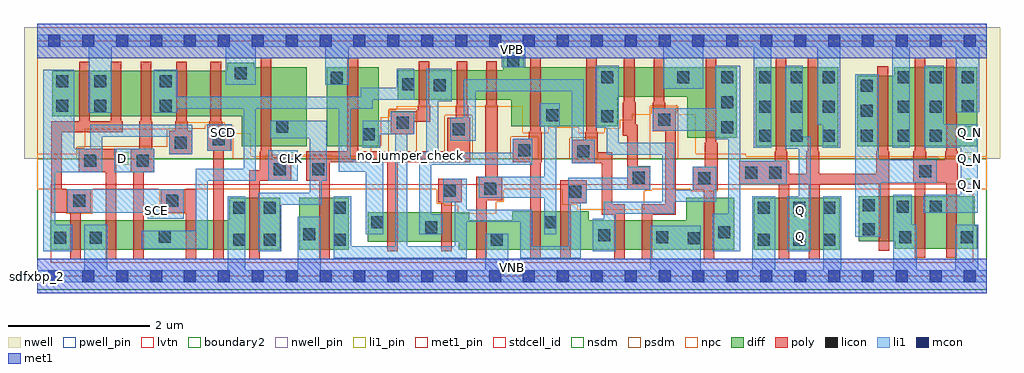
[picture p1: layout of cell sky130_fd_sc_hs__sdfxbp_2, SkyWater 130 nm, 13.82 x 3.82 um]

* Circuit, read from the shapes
.subckt sky130_fd_sc_hs__sdfxbp_2 CLK D Q Q_N SCD SCE VGND VNB VPB VPWR
XM1 VGND SCE n1 VNB sky130_fd_pr__nfet_01v8_lvt w=0.42 l=0.15
XM2 n2 n1 VGND VNB sky130_fd_pr__nfet_01v8_lvt w=0.42 l=0.15
XM3 n3 D n2 VNB sky130_fd_pr__nfet_01v8_lvt w=0.42 l=0.15
XM4 n4 SCE n3 VNB sky130_fd_pr__nfet_01v8_lvt w=0.42 l=0.15
XM5 VGND SCD n4 VNB sky130_fd_pr__nfet_01v8_lvt w=0.42 l=0.15
XM6 n5 CLK VGND VNB sky130_fd_pr__nfet_01v8_lvt w=0.74 l=0.15
XM7 n6 n5 VGND VNB sky130_fd_pr__nfet_01v8_lvt w=0.74 l=0.15
XM8 n7 n5 n3 VNB sky130_fd_pr__nfet_01v8_lvt w=0.42 l=0.15
XM9 n8 n6 n7 VNB sky130_fd_pr__nfet_01v8_lvt w=0.42 l=0.15
XM10 VGND n9 n8 VNB sky130_fd_pr__nfet_01v8_lvt w=0.42 l=0.15
XM11 n9 n7 VGND VNB sky130_fd_pr__nfet_01v8_lvt w=0.55 l=0.15
XM12 n10 n6 n9 VNB sky130_fd_pr__nfet_01v8_lvt w=0.55 l=0.15
XM13 n11 n5 n10 VNB sky130_fd_pr__nfet_01v8_lvt w=0.42 l=0.15
XM14 VGND n12 n11 VNB sky130_fd_pr__nfet_01v8_lvt w=0.42 l=0.15
XM15 n12 n10 VGND VNB sky130_fd_pr__nfet_01v8_lvt w=0.74 l=0.15
XM16 Q n12 VGND VNB sky130_fd_pr__nfet_01v8_lvt w=0.74 l=0.15 m=2
XM17 VGND n12 n13 VNB sky130_fd_pr__nfet_01v8_lvt w=0.64 l=0.15
XM18 Q_N n13 VGND VNB sky130_fd_pr__nfet_01v8_lvt w=0.74 l=0.15 m=2
XM19 VPWR SCE n1 VPB sky130_fd_pr__pfet_01v8 w=0.64 l=0.15
XM20 n14 SCE VPWR VPB sky130_fd_pr__pfet_01v8 w=0.64 l=0.15
XM21 n3 D n14 VPB sky130_fd_pr__pfet_01v8 w=0.64 l=0.15
XM22 n15 n1 n3 VPB sky130_fd_pr__pfet_01v8 w=0.64 l=0.15
XM23 VPWR SCD n15 VPB sky130_fd_pr__pfet_01v8 w=0.64 l=0.15
XM24 n5 CLK VPWR VPB sky130_fd_pr__pfet_01v8 w=1.12 l=0.15
XM25 n6 n5 VPWR VPB sky130_fd_pr__pfet_01v8 w=1.12 l=0.15
XM26 n7 n6 n3 VPB sky130_fd_pr__pfet_01v8 w=0.42 l=0.15
XM27 n16 n5 n7 VPB sky130_fd_pr__pfet_01v8 w=0.42 l=0.15
XM28 VPWR n9 n16 VPB sky130_fd_pr__pfet_01v8 w=0.42 l=0.15
XM29 n9 n7 VPWR VPB sky130_fd_pr__pfet_01v8 w=0.84 l=0.15
XM30 n10 n5 n9 VPB sky130_fd_pr__pfet_01v8 w=0.84 l=0.15
XM31 n17 n6 n10 VPB sky130_fd_pr__pfet_01v8 w=0.42 l=0.15
XM32 VPWR n12 n17 VPB sky130_fd_pr__pfet_01v8 w=0.42 l=0.15
XM33 n12 n10 VPWR VPB sky130_fd_pr__pfet_01v8 w=1 l=0.15
XM34 Q n12 VPWR VPB sky130_fd_pr__pfet_01v8 w=1.12 l=0.15 m=2
XM35 VPWR n12 n13 VPB sky130_fd_pr__pfet_01v8 w=1 l=0.15
XM36 Q_N n13 VPWR VPB sky130_fd_pr__pfet_01v8 w=1.12 l=0.15 m=2
.ends

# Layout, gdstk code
import gdstk
lib = gdstk.Library(unit=1e-6, precision=1e-09)
def R(c, l, rs):  # rectangles x0, y0, x1, y1
    for r in rs: c.add(gdstk.rectangle(r[:2], r[2:], *l))
def A(c, l, x, y, w, h, nx, ny, dx, dy):  # array of equal rectangles
    R(c, l, [(x+i*dx, y+j*dy, x+i*dx+w, y+j*dy+h) for i in range(nx) for j in range(ny)])
def P(c, l, *ps):  # polygons
    for p in ps: c.add(gdstk.Polygon(p, *l))
nwell_pin = (64, 16)
nwell = (64, 20)
diff = (65, 20)
poly = (66, 20)
licon = (66, 44)
li1_pin = (67, 16)
li1 = (67, 20)
mcon = (67, 44)
met1_pin = (68, 16)
met1 = (68, 20)
stdcell_id = (81, 4)
nsdm = (93, 44)
psdm = (94, 20)
npc = (95, 20)
pwell_pin = (122, 16)
lvtn = (125, 44)
boundary2 = (236, 0)

sky130_fd_sc_hs__sdfxbp_ = lib.new_cell('sky130_fd_sc_hs__sdfxbp_2')
R(sky130_fd_sc_hs__sdfxbp_, nwell_pin, [(0,3.085,13.44,3.33)])
R(sky130_fd_sc_hs__sdfxbp_, nwell, [(-0.19,1.66,13.63,3.52)])
R(sky130_fd_sc_hs__sdfxbp_, diff, [(3.705,0.37,4.41,1.11), (10.14,0.37,11.36,1.11), (4.095,1.84,4.835,2.96), (10.17,1.84,11.34,2.96)])
P(sky130_fd_sc_hs__sdfxbp_, diff, [(3.435,1.11),(2.715,1.11),(2.715,0.79),(0.18,0.79),(0.18,0.37),(3.435,0.37)],
  [(3.815,2.96),(3.07,2.96),(3.07,3.02),(2.69,3.02),(2.69,2.905),(0.21,2.905),(0.21,2.265),(2.895,2.265),(2.895,1.84),(3.815,1.84)],
  [(9.87,1.11),(9.185,1.11),(9.185,0.79),(7.805,0.79),(7.805,0.92),(6.725,0.92),(6.725,0.79),(6.115,0.79),(6.115,0.905),(4.68,0.905),(4.68,0.485),(5.965,0.485),(5.965,0.37),(9.87,0.37)],
  [(9.9,2.96),(6.885,2.96),(6.885,3.185),(6.595,3.185),(6.595,2.915),(5.105,2.915),(5.105,2.495),(6.71,2.495),(6.71,2.12),(8.215,2.12),(8.215,2.54),(9.2,2.54),(9.2,1.96),(9.9,1.96)],
  [(13.305,2.96),(12.135,2.96),(12.135,2.84),(11.61,2.84),(11.61,1.84),(13.305,1.84)],
  [(13.305,0.71),(13.27,0.71),(13.27,1.13),(11.63,1.13),(11.63,0.49),(12.14,0.49),(12.14,0.39),(13.305,0.39)])
P(sky130_fd_sc_hs__sdfxbp_, poly, [(1.655,1.8),(1.625,1.8),(1.625,2.19),(1.61,2.19),(1.61,3.035),(1.46,3.035),(1.46,2.19),(1.445,2.19),(1.445,1.8),(1.325,1.8),(1.325,1.47),(1.355,1.47),(1.355,0.24),(1.505,0.24),(1.505,1.47),(1.655,1.47)],
  [(2.195,2.055),(2.13,2.055),(2.13,2.19),(2.115,2.19),(2.115,3.035),(1.965,3.035),(1.965,2.19),(1.95,2.19),(1.95,2.055),(1.865,2.055),(1.865,1.725),(2.195,1.725)],
  [(2.25,1.23),(1.745,1.23),(1.745,0.9),(2.1,0.9),(2.1,0.24),(2.25,0.24)],
  [(2.735,2.105),(2.615,2.105),(2.615,2.19),(2.6,2.19),(2.6,3.035),(2.45,3.035),(2.45,2.19),(2.435,2.19),(2.435,2.105),(2.405,2.105),(2.405,1.775),(2.49,1.775),(2.49,0.24),(2.64,0.24),(2.64,1.775),(2.735,1.775)],
  [(1.115,1.8),(0.585,1.8),(0.585,1.47),(0.965,1.47),(0.965,0.24),(1.115,0.24)],
  [(1.205,2.19),(1.19,2.19),(1.19,3.035),(1.04,3.035),(1.04,2.19),(0.74,2.19),(0.74,3.035),(0.59,3.035),(0.59,2.19),(0.195,2.19),(0.195,0.9),(0.465,0.9),(0.465,0.24),(0.615,0.24),(0.615,0.9),(0.755,0.9),(0.755,1.23),(0.345,1.23),(0.345,2.04),(1.205,2.04)],
  [(3.595,1.68),(3.325,1.68),(3.325,1.765),(3.31,1.765),(3.31,3.09),(3.16,3.09),(3.16,1.765),(3.145,1.765),(3.145,1.5),(3,1.5),(3,0.24),(3.15,0.24),(3.15,1.35),(3.595,1.35)],
  [(5.565,2.42),(5.55,2.42),(5.55,3.045),(5.4,3.045),(5.4,2.42),(5.385,2.42),(5.385,2.335),(5.005,2.335),(5.005,2.005),(5.335,2.005),(5.335,2.185),(5.565,2.185)],
  [(6.005,1.375),(5.675,1.375),(5.675,1.045),(5.715,1.045),(5.715,0.355),(5.865,0.355),(5.865,1.045),(6.005,1.045)],
  [(6.13,2.245),(6.1,2.245),(6.1,2.42),(6.085,2.42),(6.085,3.045),(5.935,3.045),(5.935,2.42),(5.92,2.42),(5.92,2.245),(5.8,2.245),(5.8,1.765),(4.54,1.765),(4.54,3.09),(4.39,3.09),(4.39,1.765),(3.81,1.765),(3.81,1.35),(3.99,1.35),(3.99,0.24),(4.14,0.24),(4.14,1.615),(4.955,1.615),(4.955,0.355),(5.105,0.355),(5.105,1.615),(6.13,1.615)],
  [(6.58,1.405),(6.52,1.405),(6.52,2.42),(6.505,2.42),(6.505,3.045),(6.355,3.045),(6.355,2.42),(6.34,2.42),(6.34,1.405),(6.215,1.405),(6.215,0.24),(6.365,0.24),(6.365,1.075),(6.58,1.075)],
  [(7.14,2.045),(7.125,2.045),(7.125,3.09),(6.975,3.09),(6.975,2.045),(6.96,2.045),(6.96,1.945),(6.73,1.945),(6.73,1.615),(6.975,1.615),(6.975,0.24),(7.125,0.24),(7.125,1.615),(7.14,1.615)],
  [(7.78,1.36),(7.405,1.36),(7.405,0.24),(7.555,0.24),(7.555,1.03),(7.78,1.03)],
  [(8.315,1.015),(8.14,1.015),(8.14,1.75),(7.935,1.75),(7.935,2.045),(7.92,2.045),(7.92,3.09),(7.77,3.09),(7.77,2.045),(7.755,2.045),(7.755,1.93),(7.565,1.93),(7.565,1.6),(7.99,1.6),(7.99,0.865),(8.165,0.865),(8.165,0.24),(8.315,0.24)],
  [(8.68,1.555),(8.5,1.555),(8.5,2.14),(8.47,2.14),(8.47,2.465),(8.455,2.465),(8.455,3.09),(8.305,3.09),(8.305,2.465),(8.29,2.465),(8.29,1.99),(8.35,1.99),(8.35,1.225),(8.68,1.225)],
  [(9.04,2.38),(8.89,2.38),(8.89,2.465),(8.875,2.465),(8.875,3.09),(8.725,3.09),(8.725,2.465),(8.71,2.465),(8.71,2.05),(8.89,2.05),(8.89,1.015),(8.555,1.015),(8.555,0.24),(8.705,0.24),(8.705,0.865),(9.04,0.865)],
  [(9.63,1.885),(9.615,1.885),(9.615,3.09),(9.465,3.09),(9.465,1.885),(9.45,1.885),(9.45,1.55),(9.28,1.55),(9.28,1.22),(9.435,1.22),(9.435,0.24),(9.585,0.24),(9.585,1.22),(9.63,1.22)],
  [(12.065,1.45),(12.06,1.45),(12.06,1.765),(12.045,1.765),(12.045,2.97),(11.895,2.97),(11.895,1.765),(11.88,1.765),(11.88,1.45),(11.07,1.45),(11.07,1.765),(11.055,1.765),(11.055,3.09),(10.905,3.09),(10.905,1.765),(10.89,1.765),(10.89,1.45),(10.645,1.45),(10.645,1.63),(10.62,1.63),(10.62,1.765),(10.605,1.765),(10.605,3.09),(10.455,3.09),(10.455,1.765),(10.44,1.765),(10.44,1.63),(9.94,1.63),(9.94,1.3),(10.495,1.3),(10.495,0.24),(10.645,0.24),(10.645,1.3),(10.925,1.3),(10.925,0.24),(11.075,0.24),(11.075,1.3),(11.915,1.3),(11.915,0.36),(12.065,0.36)],
  [(13.035,1.765),(13.02,1.765),(13.02,3.09),(12.87,3.09),(12.87,1.765),(12.855,1.765),(12.855,1.65),(12.585,1.65),(12.585,1.765),(12.57,1.765),(12.57,3.09),(12.42,3.09),(12.42,1.765),(12.405,1.765),(12.405,1.32),(12.425,1.32),(12.425,0.26),(12.575,0.26),(12.575,1.32),(12.87,1.32),(12.87,0.26),(13.02,0.26),(13.02,1.32),(13.035,1.32)])
A(sky130_fd_sc_hs__sdfxbp_, licon, 10.22, 1.9, 0.17, 0.17, 3, 3, 0.45, 0.415)
A(sky130_fd_sc_hs__sdfxbp_, licon, 11.66, 1.9, 0.17, 0.17, 1, 3, 0, 0.355)
A(sky130_fd_sc_hs__sdfxbp_, licon, 9.68, 2.02, 0.17, 0.17, 1, 3, 0, 0.355)
A(sky130_fd_sc_hs__sdfxbp_, licon, 12.185, 2.73, 0.17, 0.17, 3, 1, 0.45, 0)
R(sky130_fd_sc_hs__sdfxbp_, licon, [(2.775,0.43,2.945,0.6), (3.205,0.43,3.375,0.6), (4.195,0.43,4.365,0.6), (6.42,0.43,6.59,0.6), (10.2,0.43,10.37,0.6), (10.7,0.43,10.87,0.6), (11.13,0.43,11.3,0.6), (9.21,0.45,9.38,0.62), (0.24,0.455,0.41,0.625), (0.74,0.455,0.91,0.625), (8.76,0.465,8.93,0.635), (12.2,0.465,12.37,0.635), (13.075,0.465,13.245,0.635), (1.715,0.47,1.885,0.64), (7.94,0.495,8.11,0.665), (3.765,0.51,3.935,0.68), (9.64,0.535,9.81,0.705), (11.69,0.58,11.86,0.75), (5.49,0.61,5.66,0.78), (4.73,0.675,4.9,0.845), (7.18,0.68,7.35,0.85), (2.775,0.88,2.945,1.05), (3.205,0.88,3.375,1.05), (4.195,0.88,4.365,1.05), (10.2,0.88,10.37,1.05), (10.7,0.88,10.87,1.05), (11.13,0.88,11.3,1.05), (12.17,0.9,12.34,1.07), (12.635,0.9,12.805,1.07), (11.69,0.92,11.86,1.09), (0.505,0.98,0.675,1.15), (1.825,0.98,1.995,1.15), (7.53,1.11,7.7,1.28), (5.755,1.125,5.925,1.295), (6.33,1.155,6.5,1.325), (9.36,1.3,9.53,1.47), (8.43,1.305,8.6,1.475), (10.02,1.38,10.19,1.55), (10.36,1.38,10.53,1.55), (12.485,1.4,12.655,1.57), (3.345,1.43,3.515,1.6), (3.89,1.43,4.06,1.6), (0.665,1.55,0.835,1.72), (1.405,1.55,1.575,1.72), (7.645,1.68,7.815,1.85), (6.81,1.695,6.98,1.865), (1.945,1.805,2.115,1.975), (2.485,1.855,2.655,2.025), (12.185,1.9,12.355,2.07), (12.635,1.9,12.805,2.07), (4.605,1.925,4.775,2.095), (5.88,1.995,6.05,2.165), (3.38,2.03,3.55,2.2), (5.085,2.085,5.255,2.255), (8.79,2.13,8.96,2.3), (7.985,2.18,8.155,2.35), (7.205,2.195,7.375,2.365), (12.185,2.315,12.355,2.485), (12.635,2.315,12.805,2.485), (13.085,2.32,13.255,2.49), (0.27,2.325,0.44,2.495), (0.805,2.325,0.975,2.495), (1.73,2.325,1.9,2.495), (5.615,2.62,5.785,2.79), (5.165,2.63,5.335,2.8), (0.27,2.675,0.44,2.845), (0.805,2.675,0.975,2.845), (1.73,2.675,1.9,2.845), (4.155,2.72,4.325,2.89), (7.985,2.73,8.155,2.9), (9.06,2.73,9.23,2.9), (2.795,2.79,2.965,2.96), (6.655,2.955,6.825,3.125)])
A(sky130_fd_sc_hs__sdfxbp_, li1_pin, 13.115, 1.21, 0.17, 0.17, 1, 3, 0, 0.37)
R(sky130_fd_sc_hs__sdfxbp_, li1_pin, [(10.715,0.47,10.885,0.64), (1.595,0.84,1.765,1.01), (10.715,0.84,10.885,1.01), (1.115,1.58,1.285,1.75), (3.515,1.58,3.685,1.75), (2.555,1.95,2.725,2.12)])
R(sky130_fd_sc_hs__sdfxbp_, li1, [(12.12,0.72,12.38,1.15), (3.265,1.35,3.685,1.78), (1.085,1.47,1.655,1.8), (2.405,1.775,2.755,2.15), (12.555,2.135,12.835,2.98)])
P(sky130_fd_sc_hs__sdfxbp_, li1, [(13.44,3.415),(0,3.415),(0,3.245),(0.725,3.245),(0.725,2.31),(1.055,2.31),(1.055,3.245),(2.67,3.245),(2.67,2.71),(3.09,2.71),(3.09,3.245),(4.075,3.245),(4.075,2.71),(4.405,2.71),(4.405,3.245),(6.575,3.245),(6.575,2.955),(6.905,2.955),(6.905,3.245),(8.86,3.245),(8.86,2.65),(9.43,2.65),(9.43,3.245),(10.14,3.245),(10.14,1.82),(10.39,1.82),(10.39,3.245),(11.04,3.245),(11.04,2.14),(11.12,2.14),(11.12,1.82),(11.37,1.82),(11.37,3.245),(12.105,3.245),(12.105,1.82),(12.355,1.82),(12.355,3.245),(13.005,3.245),(13.005,2.32),(13.335,2.32),(13.335,3.245),(13.44,3.245)],
  [(0.66,0.085),(0.66,0.73),(0.99,0.73),(0.99,0.085),(2.695,0.085),(2.695,1.13),(2.945,1.13),(2.945,0.085),(3.685,0.085),(3.685,0.84),(4.015,0.84),(4.015,0.085),(6.34,0.085),(6.34,0.6),(6.67,0.6),(6.67,0.085),(8.68,0.085),(8.68,0.715),(9.39,0.715),(9.39,0.085),(10.12,0.085),(10.12,1.13),(10.45,1.13),(10.45,0.085),(11.13,0.085),(11.13,1.13),(11.38,1.13),(11.38,0.085),(12.12,0.085),(12.12,0.73),(12.45,0.73),(12.45,0.085),(12.995,0.085),(12.995,0.73),(13.325,0.73),(13.325,0.085),(13.44,0.085),(13.44,-0.085),(0,-0.085),(0,0.085)],
  [(1.48,0.39),(1.48,0.64),(2.245,0.64),(2.245,1.52),(2.925,1.52),(2.925,2.37),(1.98,2.37),(1.98,2.31),(1.65,2.31),(1.65,2.925),(1.98,2.925),(1.98,2.54),(4.575,2.54),(4.575,2.665),(5.085,2.665),(5.085,2.935),(5.335,2.935),(5.335,2.495),(4.745,2.495),(4.745,2.37),(4.435,2.37),(4.435,1.65),(4.9,1.65),(4.9,0.595),(4.65,0.595),(4.65,1.48),(4.265,1.48),(4.265,2.37),(3.095,2.37),(3.095,1.35),(2.415,1.35),(2.415,0.39)],
  [(0.425,0.9),(0.425,1.23),(2.075,1.23),(2.075,0.81),(1.565,0.81),(1.565,0.9)],
  [(5.91,0.425),(5.91,1.045),(5.75,1.045),(5.75,1.375),(6.08,1.375),(6.08,0.94),(7.01,0.94),(7.01,0.425),(7.52,0.425),(7.52,1.395),(8.35,1.395),(8.35,1.55),(8.68,1.55),(8.68,1.225),(7.78,1.225),(7.78,1.03),(7.69,1.03),(7.69,0.255),(6.84,0.255),(6.84,0.77),(6.08,0.77),(6.08,0.255),(4.195,0.255),(4.195,1.13),(4.445,1.13),(4.445,0.425),(5.07,0.425),(5.07,2.005),(4.855,2.005),(4.855,1.82),(4.605,1.82),(4.605,2.2),(5.005,2.2),(5.005,2.325),(5.335,2.325),(5.335,2.005),(5.24,2.005),(5.24,0.425)],
  [(0.745,2.14),(2.195,2.14),(2.195,1.725),(1.865,1.725),(1.865,1.97),(0.915,1.97),(0.915,1.47),(0.255,1.47),(0.255,0.73),(0.49,0.73),(0.49,0.35),(0.085,0.35),(0.085,2.925),(0.52,2.925),(0.52,1.8),(0.745,1.8)],
  [(8.85,1.055),(8.85,1.72),(8.065,1.72),(8.065,2.1),(7.905,2.1),(7.905,2.98),(8.235,2.98),(8.235,1.89),(9.02,1.89),(9.02,1.225),(9.28,1.225),(9.28,1.55),(9.61,1.55),(9.61,1.055),(9.02,1.055),(9.02,0.885),(8.19,0.885),(8.19,0.35),(7.86,0.35),(7.86,0.81),(8.02,0.81),(8.02,1.055)],
  [(6.035,2.785),(7.735,2.785),(7.735,1.93),(7.895,1.93),(7.895,1.6),(7.565,1.6),(7.565,2.615),(6.205,2.615),(6.205,1.915),(5.845,1.915),(5.845,2.245),(6.035,2.245)],
  [(9.78,1.94),(9.6,1.94),(9.6,2.06),(8.71,2.06),(8.71,2.38),(9.6,2.38),(9.6,2.98),(9.95,2.98),(9.95,1.63),(10.61,1.63),(10.61,1.3),(9.95,1.3),(9.95,0.35),(9.56,0.35),(9.56,0.885),(9.78,0.885)],
  [(10.62,0.35),(10.62,1.13),(10.78,1.13),(10.78,1.8),(10.59,1.8),(10.59,2.98),(10.84,2.98),(10.84,1.97),(10.95,1.97),(10.95,0.35)],
  [(11.58,2.86),(11.91,2.86),(11.91,1.65),(12.735,1.65),(12.735,1.32),(11.94,1.32),(11.94,0.56),(11.58,0.56)],
  [(4.025,1.01),(3.455,1.01),(3.455,0.35),(3.125,0.35),(3.125,1.18),(3.855,1.18),(3.855,1.95),(3.295,1.95),(3.295,2.2),(4.095,2.2),(4.095,1.35),(4.025,1.35)],
  [(7.18,1.405),(7.18,2.115),(7.11,2.115),(7.11,2.445),(7.395,2.445),(7.395,2.115),(7.35,2.115),(7.35,0.595),(7.18,0.595),(7.18,1.11),(6.25,1.11),(6.25,1.405)],
  [(5.58,1.575),(5.58,0.875),(5.74,0.875),(5.74,0.595),(5.41,0.595),(5.41,1.745),(5.505,1.745),(5.505,2.935),(5.865,2.935),(5.865,2.475),(5.675,2.475),(5.675,1.745),(6.73,1.745),(6.73,1.945),(7.01,1.945),(7.01,1.575)],
  [(13.075,1.15),(13.075,1.82),(12.555,1.82),(12.555,2.15),(13.315,2.15),(13.315,0.9),(12.55,0.9),(12.55,1.15)])
A(sky130_fd_sc_hs__sdfxbp_, mcon, 0.155, -0.085, 0.17, 0.17, 28, 2, 0.48, 3.33)
R(sky130_fd_sc_hs__sdfxbp_, met1_pin, [(0,0,13.44,0.245), (0,3.085,13.44,3.33)])
R(sky130_fd_sc_hs__sdfxbp_, met1, [(0,-0.245,13.44,0.245), (0,3.085,13.44,3.575)])
R(sky130_fd_sc_hs__sdfxbp_, stdcell_id, [(0,0,13.44,3.33)])
R(sky130_fd_sc_hs__sdfxbp_, nsdm, [(0,-0.19,13.44,1.66)])
P(sky130_fd_sc_hs__sdfxbp_, psdm, [(13.44,3.52),(0,3.52),(0,1.66),(0.555,1.66),(0.555,1.83),(1.835,1.83),(1.835,2.085),(2.375,2.085),(2.375,2.135),(2.765,2.135),(2.765,1.66),(3.235,1.66),(3.235,1.71),(4.17,1.71),(4.17,1.66),(4.975,1.66),(4.975,2.365),(5.365,2.365),(5.365,1.66),(5.77,1.66),(5.77,2.275),(6.16,2.275),(6.16,1.66),(6.7,1.66),(6.7,1.975),(7.09,1.975),(7.09,1.66),(7.535,1.66),(7.535,1.96),(7.925,1.96),(7.925,1.66),(8.68,1.66),(8.68,2.41),(9.07,2.41),(9.07,1.66),(12.375,1.66),(12.375,1.68),(12.765,1.68),(12.765,1.66),(13.44,1.66)])
P(sky130_fd_sc_hs__sdfxbp_, npc, [(13.44,1.7),(10.03,1.7),(10.03,1.73),(9.325,1.73),(9.325,2.295),(9.06,2.295),(9.06,2.4),(8.69,2.4),(8.69,2.295),(8.425,2.295),(8.425,2.215),(8.245,2.215),(8.245,2.09),(8.025,2.09),(8.025,2.03),(7.665,2.03),(7.665,2.105),(7.23,2.105),(7.23,2.03),(6.87,2.03),(6.87,2.405),(5.09,2.405),(5.09,2.355),(4.985,2.355),(4.985,2.25),(4.865,2.25),(4.865,1.835),(4.72,1.835),(4.72,1.7),(3.02,1.7),(3.02,2.02),(2.755,2.02),(2.755,2.125),(2.65,2.125),(2.65,2.175),(1.95,2.175),(1.95,2.085),(0.67,2.085),(0.67,1.82),(0.565,1.82),(0.565,1.73),(0,1.73),(0,1.23),(0.405,1.23),(0.405,0.88),(0.775,0.88),(0.775,1.23),(1.725,1.23),(1.725,0.88),(2.095,0.88),(2.095,1.23),(5.655,1.23),(5.655,1.025),(5.76,1.025),(5.76,0.995),(5.955,0.995),(5.955,0.88),(6.495,0.88),(6.495,1.055),(6.6,1.055),(6.6,1.23),(7.43,1.23),(7.43,1.01),(7.645,1.01),(7.645,0.94),(8.595,0.94),(8.595,1.205),(8.7,1.205),(8.7,1.23),(9.26,1.23),(9.26,1.2),(9.63,1.2),(9.63,1.23),(13.44,1.23)])
R(sky130_fd_sc_hs__sdfxbp_, pwell_pin, [(0,0,13.44,0.245)])
P(sky130_fd_sc_hs__sdfxbp_, lvtn, [(13.25,1.3),(13.2,1.3),(13.2,1.31),(11.735,1.31),(11.735,1.3),(0.19,1.3),(0.19,0.19),(13.25,0.19)])
R(sky130_fd_sc_hs__sdfxbp_, boundary2, [(0,0,13.44,3.33)])
sky130_fd_sc_hs__sdfxbp_.add(gdstk.Label('sdfxbp_2', (0,0), layer=83, texttype=44))
sky130_fd_sc_hs__sdfxbp_.add(gdstk.Label('no_jumper_check', (5.28,1.71), layer=83, texttype=44))
sky130_fd_sc_hs__sdfxbp_.add(gdstk.Label('VNB', (6.72,0.123), layer=64, texttype=59))
sky130_fd_sc_hs__sdfxbp_.add(gdstk.Label('VPB', (6.72,3.208), layer=64, texttype=5))
sky130_fd_sc_hs__sdfxbp_.add(gdstk.Label('VPWR', (6.72,3.208), layer=68, texttype=5))
sky130_fd_sc_hs__sdfxbp_.add(gdstk.Label('VGND', (6.72,0.123), layer=68, texttype=5))
sky130_fd_sc_hs__sdfxbp_.add(gdstk.Label('SCE', (1.68,0.925), layer=67, texttype=5))
sky130_fd_sc_hs__sdfxbp_.add(gdstk.Label('CLK', (3.6,1.665), layer=67, texttype=5))
sky130_fd_sc_hs__sdfxbp_.add(gdstk.Label('D', (1.2,1.665), layer=67, texttype=5))
sky130_fd_sc_hs__sdfxbp_.add(gdstk.Label('SCD', (2.64,2.035), layer=67, texttype=5))
sky130_fd_sc_hs__sdfxbp_.add(gdstk.Label('Q', (10.8,0.555), layer=67, texttype=5))
sky130_fd_sc_hs__sdfxbp_.add(gdstk.Label('Q', (10.8,0.925), layer=67, texttype=5))
sky130_fd_sc_hs__sdfxbp_.add(gdstk.Label('Q_N', (13.2,1.295), layer=67, texttype=5))
sky130_fd_sc_hs__sdfxbp_.add(gdstk.Label('Q_N', (13.2,1.665), layer=67, texttype=5))
sky130_fd_sc_hs__sdfxbp_.add(gdstk.Label('Q_N', (13.2,2.035), layer=67, texttype=5))

lib.write_gds('sky130_fd_sc_hs__sdfxbp_2.gds')
